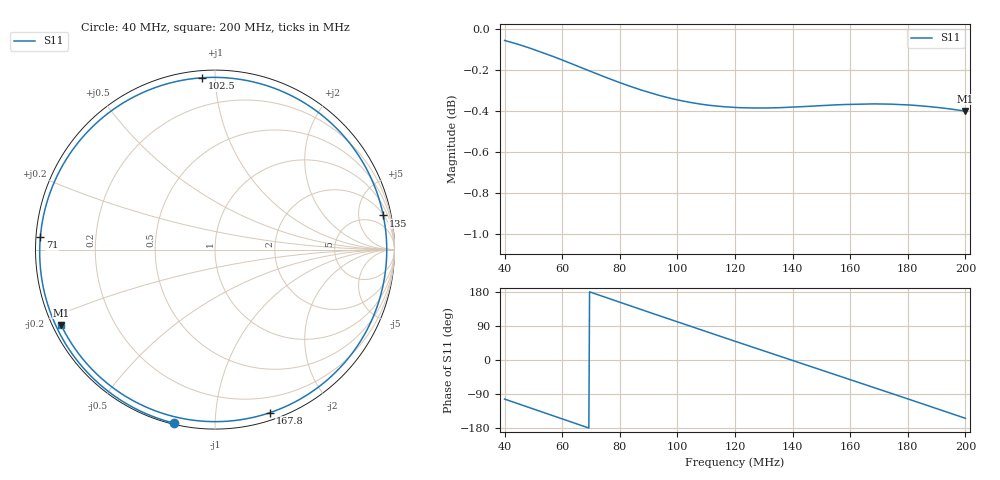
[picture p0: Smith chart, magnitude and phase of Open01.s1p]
# Hz S RI R 50
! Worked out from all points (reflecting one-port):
!   641 points, 40 MHz to 200 MHz, reference 50 ohm
!   lowest |S11| = -0.4 dB at 200 MHz (marker M1), VSWR 43.29, Z = 1.22 - j11.6 ohm
!   phase of S11 starts at -103 deg and turns -411 deg over the sweep
!   S11 on the Smith chart (normalised r, x): 40 MHz: 0.01, -0.79; 71 MHz: 0.01, +0.04; 102.5 MHz: 0.04, +0.93; 135 MHz: 2.12, +9.49; 167.8 MHz: 0.06, -1.39; 200 MHz: 0.02, -0.23
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4e7  -0.2263 -0.9672
4.45e7  -0.4172 -0.8992
4.925e7  -0.5989 -0.7868
5.475e7  -0.7729 -0.6117
6e7  -0.8931 -0.4096
6.55e7  -0.9634 -0.1744
7.1e7  -0.9731 0.0698
7.55e7  -0.9358 0.2656
8e7  -0.86 0.449
8.5e7  -0.7349 0.6292
9.05e7  -0.5557 0.7886
9.525e7  -0.3744 0.8868
1e8  -0.1775 0.9443
1.025e8  -0.0706 0.9575
1.11e8  0.2891 0.9133
1.2e8  0.6214 0.7275
1.2775e8  0.8298 0.4757
1.35e8  0.9375 0.1902
1.4e8  0.9567 -0.0196
1.4475e8  0.9321 -0.2182
1.4975e8  0.8622 -0.417
1.6e8  0.5934 -0.7526
1.6775e8  0.3057 -0.9086
1.74e8  0.0452 -0.9575
1.8e8  -0.2089 -0.9351
1.8925e8  -0.566 -0.7716
1.95e8  -0.7431 -0.6013
2e8  -0.8573 -0.4204
